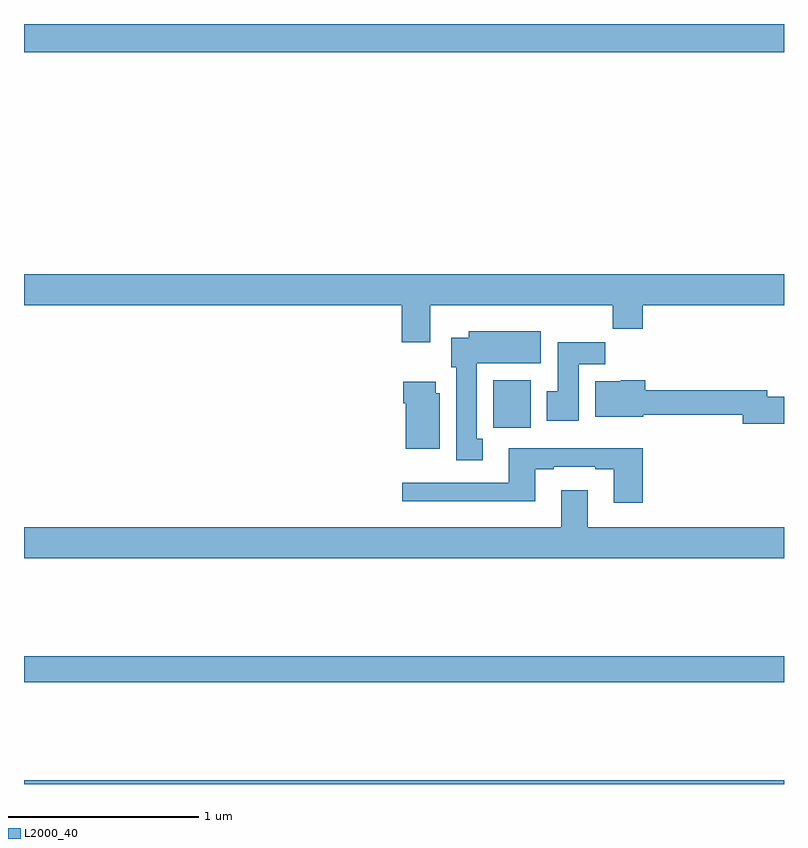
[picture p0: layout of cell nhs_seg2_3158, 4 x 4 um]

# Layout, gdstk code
import gdstk
lib = gdstk.Library(unit=1e-6, precision=1e-09)
def R(c, l, rs):  # rectangles x0, y0, x1, y1
    for r in rs: c.add(gdstk.rectangle(r[:2], r[2:], *l))
def P(c, l, *ps):  # polygons
    for p in ps: c.add(gdstk.Polygon(p, *l))
L2000_40 = (2000, 40)

nhs_seg2_3158 = lib.new_cell('nhs_seg2_3158')
R(nhs_seg2_3158, L2000_40, [(277,627.8,281,627.82), (277,628.336,281,628.472), (279.471,629.676,279.667,629.926), (277,631.652,281,631.8)])
P(nhs_seg2_3158, L2000_40, [(279.139,630.32),(280.099,630.32),(280.099,630.196),(280.256,630.196),(280.256,630.32),(281,630.32),(281,630.484),(277,630.484),(277,630.32),(278.987,630.32),(278.987,630.126),(279.139,630.126)],
  [(279.415,629.617),(279.382,629.617),(279.382,630.014),(279.721,630.014),(279.721,630.184),(279.341,630.184),(279.341,630.148),(279.248,630.148),(279.248,629.994),(279.275,629.994),(279.275,629.505),(279.415,629.505)],
  [(279.919,630.008),(280.058,630.008),(280.058,630.126),(279.809,630.126),(279.809,629.868),(279.752,629.868),(279.752,629.712),(279.919,629.712)],
  [(281,629.838),(280.912,629.838),(280.912,629.872),(280.271,629.872),(280.271,629.926),(280.14,629.926),(280.14,629.92),(280.007,629.92),(280.007,629.732),(280.258,629.732),(280.258,629.743),(280.784,629.743),(280.784,629.696),(281,629.696)],
  [(279.187,629.856),(279.166,629.856),(279.166,629.917),(278.996,629.917),(278.996,629.804),(279.008,629.804),(279.008,629.564),(279.187,629.564)],
  [(280.256,629.566),(279.551,629.566),(279.551,629.385),(278.991,629.385),(278.991,629.288),(279.691,629.288),(279.691,629.457),(279.787,629.457),(279.787,629.469),(280.007,629.469),(280.007,629.457),(280.103,629.457),(280.103,629.28),(280.256,629.28)],
  [(281,629.152),(279.967,629.152),(279.967,629.347),(279.827,629.347),(279.827,629.152),(277,629.152),(277,628.988),(281,628.988)])

lib.write_gds('nhs_seg2_3158.gds')
